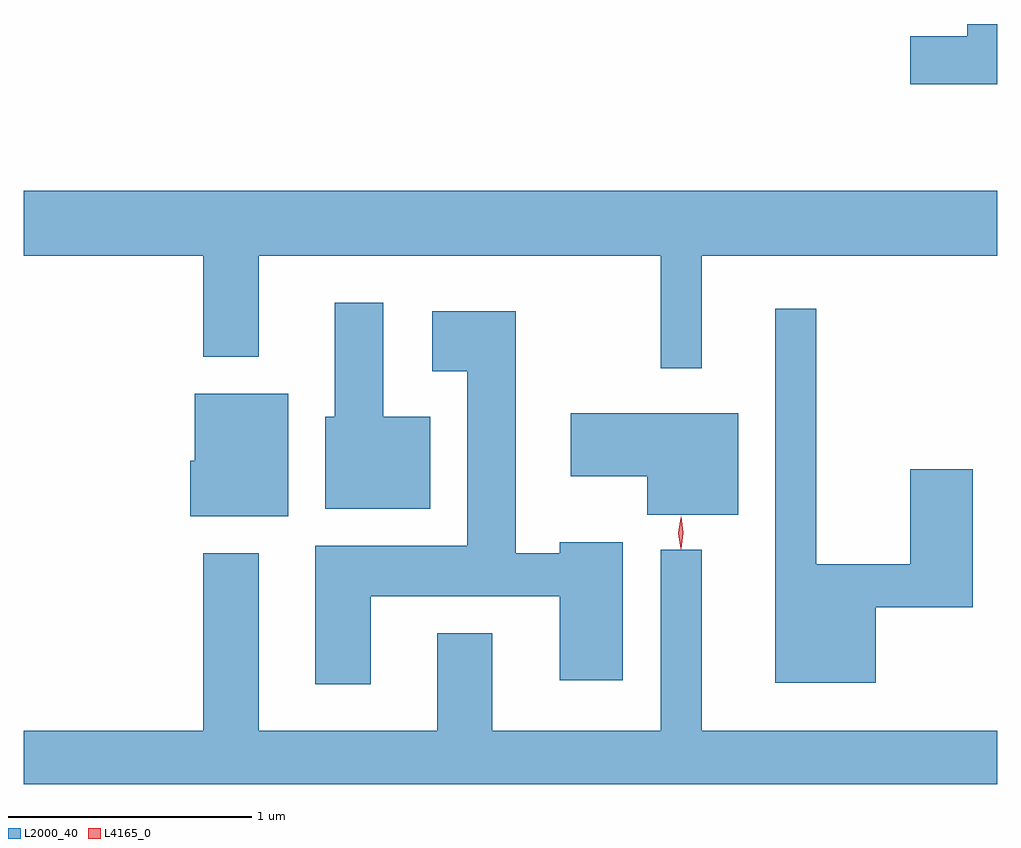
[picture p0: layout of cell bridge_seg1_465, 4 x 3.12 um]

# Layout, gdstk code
import gdstk
lib = gdstk.Library(unit=1e-6, precision=1e-09)
def P(c, l, *ps):  # polygons
    for p in ps: c.add(gdstk.Polygon(p, *l))
L2000_40 = (2000, 40)
L4165_0 = (4165, 0)

bridge_seg1_465 = lib.new_cell('bridge_seg1_465')
P(bridge_seg1_465, L2000_40, [(209.703,860.569),(209.581,860.569),(209.581,860.519),(209.346,860.519),(209.346,860.321),(209.703,860.321)],
  [(208.489,859.616),(209.703,859.616),(209.703,859.884),(205.703,859.884),(205.703,859.616),(206.441,859.616),(206.441,859.201),(206.669,859.201),(206.669,859.616),(208.321,859.616),(208.321,859.153),(208.489,859.153)],
  [(207.374,858.954),(207.179,858.954),(207.179,859.424),(206.981,859.424),(206.981,858.954),(206.941,858.954),(206.941,858.576),(207.374,858.576)],
  [(209.204,858.171),(209.604,858.171),(209.604,858.739),(209.346,858.739),(209.346,858.349),(208.959,858.349),(208.959,859.398),(208.791,859.398),(208.791,857.861),(209.204,857.861)],
  [(207.129,858.216),(207.906,858.216),(207.906,857.871),(208.164,857.871),(208.164,858.439),(207.906,858.439),(207.906,858.394),(207.724,858.394),(207.724,859.389),(207.381,859.389),(207.381,859.141),(207.526,859.141),(207.526,858.424),(206.901,858.424),(206.901,857.856),(207.129,857.856)],
  [(206.789,859.049),(206.406,859.049),(206.406,858.774),(206.386,858.774),(206.386,858.546),(206.789,858.546)],
  [(208.639,858.969),(207.951,858.969),(207.951,858.711),(208.266,858.711),(208.266,858.551),(208.639,858.551)],
  [(209.703,857.664),(208.489,857.664),(208.489,858.408),(208.321,858.408),(208.321,857.664),(207.629,857.664),(207.629,858.064),(207.401,858.064),(207.401,857.664),(206.669,857.664),(206.669,858.394),(206.441,858.394),(206.441,857.664),(205.703,857.664),(205.703,857.445),(209.703,857.445)])
P(bridge_seg1_465, L4165_0, [(208.403,858.413),(208.403,858.413),(208.393,858.476),(208.402,858.54),(208.402,858.54),(208.403,858.54),(208.413,858.477),(208.404,858.413)],
  [(208.404,858.41),(208.404,858.41),(208.394,858.478),(208.404,858.546),(208.404,858.546),(208.405,858.546),(208.414,858.478),(208.405,858.41)])

lib.write_gds('bridge_seg1_465.gds')
